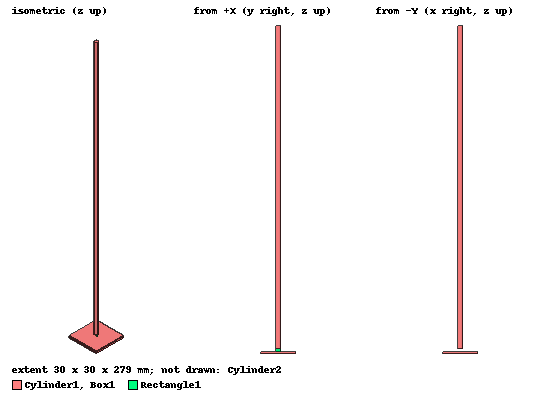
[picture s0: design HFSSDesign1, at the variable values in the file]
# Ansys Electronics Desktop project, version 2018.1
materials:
  vacuum: permittivity=1
  copper: permeability=0.999991 conductivity=58000000
  air: permittivity=1.0006 permeability=1.0000004

design HFSSDesign1 (HFSS, DrivenModal, model units mm)
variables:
  I = 1mm
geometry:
  Cylinder1 [copper] = cylinder(axis=Z, base_centre=(0mm, 0mm, 2mm), radius=2mm, height=275mm)
  Box1 [copper] = box(corner=(-15mm, -15mm, 0mm), size=(30mm, 30mm, -2mm))
  Rectangle1 = rectangle(corner=(0mm, -2mm, 2mm), y_size=4mm, z_size=-2mm)
  Cylinder2 [air] = cylinder(axis=Z, base_centre=(0mm, 0mm, -350mm), radius=100mm, height=700mm)
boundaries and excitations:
  Rad1: Radiation Faces=Cylinder2.face(1 of 3)
  1: Lumped Port Objects=Rectangle1 Modes{Mode1{IntLine{middle of Rectangle1.edge(z opposite corner) -> middle of Rectangle1.edge(z at corner)} CharImp=Zpi RenormImp=50ohm}} Impedance=50ohm
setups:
  Setup1: HfssDriven Frequency=1090MHz MaxDeltaS=0.02 MaximumPasses=20 MinimumPasses=1 MinimumConvergedPasses=1 PercentRefinement=30 BasisOrder=1 PortAccuracy=2
    sweep Sweep: 0.1GHz to 3GHz, 451 points; Type=Interpolating InterpTolerance=0.5 InterpMaxSolns=250 InterpUsePortImped=false PassivityErrorTolerance=0.0001
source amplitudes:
  1:1: 1W 0deg
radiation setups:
  Infinite Sphere1: Infinite Sphere Theta=0deg..360deg step 2deg Phi=0deg..360deg step 2deg
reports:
  Gain Plot 1: dB10normalize(GainTotal) vs Theta on Setup1 : LastAdaptive, Infinite Sphere1 [Phi=all Freq=1.09GHz]
  S Parameter Plot 1: dB(S(1,1)) vs Freq on Setup1 : Sweep [I=all]; markers m1 at 1.4146667GHz
